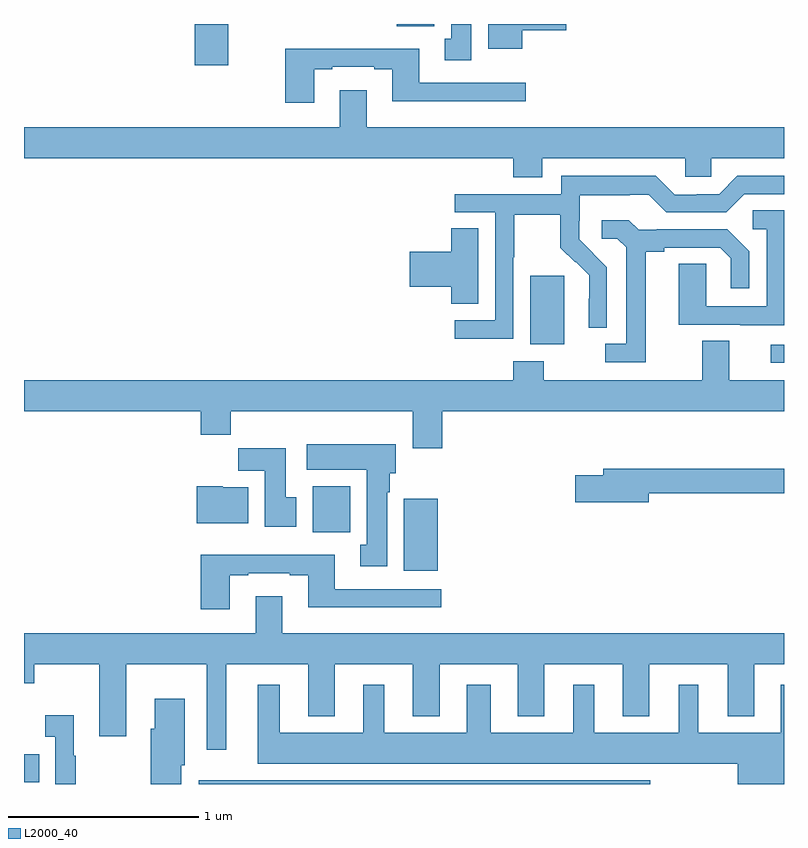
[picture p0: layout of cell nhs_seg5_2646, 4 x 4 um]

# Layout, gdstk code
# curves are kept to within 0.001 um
import gdstk
lib = gdstk.Library(unit=1e-6, precision=1e-09)
def R(c, l, rs):  # rectangles x0, y0, x1, y1
    for r in rs: c.add(gdstk.rectangle(r[:2], r[2:], *l))
def P(c, l, *ps):  # polygons
    for p in ps: c.add(gdstk.Polygon(p, *l))
L2000_40 = (2000, 40)

nhs_seg5_2646 = lib.new_cell('nhs_seg5_2646')
R(nhs_seg5_2646, L2000_40, [(265.92,854.799,268.297,854.818), (265,854.807,265.079,854.955), (266.999,855.921,267.178,856.3), (266.519,856.124,266.716,856.366), (268.929,857.016,269,857.112), (267.665,857.114,267.844,857.475), (265.898,858.582,266.076,858.799), (266.963,858.788,267.16,858.799)])
P(nhs_seg5_2646, L2000_40, [(267.622,858.767),(267.853,858.767),(267.853,858.799),(267.443,858.799),(267.443,858.668),(267.622,858.668)],
  [(267.355,858.799),(267.248,858.799),(267.248,858.722),(267.215,858.722),(267.215,858.609),(267.355,858.609)],
  [(266.527,858.561),(266.623,858.561),(266.623,858.573),(266.843,858.573),(266.843,858.561),(266.939,858.561),(266.939,858.392),(267.64,858.392),(267.64,858.489),(267.079,858.489),(267.079,858.67),(266.375,858.67),(266.375,858.384),(266.527,858.384)],
  [(266.663,858.451),(266.663,858.256),(265,858.256),(265,858.092),(267.575,858.092),(267.575,857.993),(267.727,857.993),(267.727,858.092),(268.479,858.092),(268.479,857.994),(268.617,857.994),(268.617,858.092),(269,858.092),(269,858.256),(266.803,858.256),(266.803,858.451)],
  [(267.576,857.572),(267.579,857.572),(267.579,857.796),(267.823,857.796),(267.823,857.621),(267.9,857.544),(267.903,857.547),(267.974,857.477),(267.974,857.354),(267.972,857.354),(267.972,857.2),(268.068,857.2),(268.068,857.518),(267.922,857.666),(267.922,857.763),(267.924,857.763),(267.924,857.897),(268.187,857.897),(268.187,857.901),(268.287,857.901),(268.38,857.808),(268.695,857.808),(268.791,857.904),(269,857.904),(269,858),(268.755,858),(268.659,857.904),(268.541,857.904),(268.541,857.901),(268.425,857.901),(268.325,858.001),(267.828,858.001),(267.828,857.904),(267.267,857.904),(267.267,857.808),(267.48,857.808),(267.48,857.241),(267.267,857.241),(267.267,857.143),(267.576,857.143)],
  [(269,857.819),(268.836,857.819),(268.836,857.718),(268.908,857.718),(268.908,857.313),(268.59,857.313),(268.59,857.537),(268.445,857.537),(268.445,857.217),(268.769,857.217),(268.769,857.213),(269,857.213)],
  [(268.273,857.6),(268.369,857.6),(268.369,857.622),(268.664,857.622),(268.721,857.565),(268.721,857.409),(268.818,857.409),(268.818,857.602),(268.702,857.718),(268.33,857.718),(268.33,857.715),(268.236,857.715),(268.184,857.767),(268.041,857.767),(268.041,857.67),(268.122,857.67),(268.169,857.623),(268.169,857.115),(268.059,857.115),(268.059,857.019),(268.273,857.019)],
  [(267.391,857.723),(267.248,857.723),(267.248,857.6),(267.03,857.6),(267.03,857.417),(267.248,857.417),(267.248,857.326),(267.391,857.326)],
  [(265,856.76),(265.931,856.76),(265.931,856.636),(266.087,856.636),(266.087,856.76),(267.047,856.76),(267.047,856.566),(267.2,856.566),(267.2,856.76),(269,856.76),(269,856.924),(268.711,856.924),(268.711,857.132),(268.571,857.132),(268.571,856.924),(267.735,856.924),(267.735,857.023),(267.575,857.023),(267.575,856.924),(265,856.924)],
  [(266.911,856.334),(266.926,856.334),(266.926,856.434),(266.956,856.434),(266.956,856.588),(266.487,856.588),(266.487,856.454),(266.804,856.454),(266.804,856.058),(266.771,856.058),(266.771,855.945),(266.911,855.945)],
  [(266.434,856.308),(266.377,856.308),(266.377,856.567),(266.128,856.567),(266.128,856.448),(266.267,856.448),(266.267,856.152),(266.434,856.152)],
  [(268.288,856.33),(269,856.33),(269,856.459),(268.049,856.459),(268.049,856.425),(267.9,856.425),(267.9,856.283),(268.288,856.283)],
  [(266.179,856.36),(266.046,856.36),(266.046,856.366),(265.91,856.366),(265.91,856.172),(266.179,856.172)],
  [(266.083,855.897),(266.179,855.897),(266.179,855.909),(266.399,855.909),(266.399,855.897),(266.495,855.897),(266.495,855.728),(267.196,855.728),(267.196,855.825),(266.635,855.825),(266.635,856.006),(265.931,856.006),(265.931,855.72),(266.083,855.72)],
  [(266.359,855.787),(266.219,855.787),(266.219,855.592),(265,855.592),(265,855.329),(265.053,855.329),(265.053,855.428),(265.397,855.428),(265.397,855.051),(265.537,855.051),(265.537,855.428),(265.961,855.428),(265.961,854.979),(266.065,854.979),(266.065,855.428),(266.495,855.428),(266.495,855.155),(266.635,855.155),(266.635,855.428),(267.047,855.428),(267.047,855.155),(267.187,855.155),(267.187,855.428),(267.599,855.428),(267.599,855.155),(267.739,855.155),(267.739,855.428),(268.151,855.428),(268.151,855.155),(268.291,855.155),(268.291,855.428),(268.703,855.428),(268.703,855.155),(268.843,855.155),(268.843,855.428),(269,855.428),(269,855.592),(266.359,855.592)],
  [(269,855.322),(268.982,855.322),(268.982,855.07),(268.549,855.07),(268.549,855.322),(268.445,855.322),(268.445,855.07),(268,855.07),(268,855.322),(267.89,855.322),(267.89,855.07),(267.457,855.07),(267.457,855.322),(267.329,855.322),(267.329,855.07),(266.896,855.07),(266.896,855.322),(266.786,855.322),(266.786,855.07),(266.347,855.07),(266.347,855.322),(266.231,855.322),(266.231,854.906),(268.757,854.906),(268.757,854.799),(269,854.799)],
  [(265.828,854.898),(265.846,854.898),(265.846,855.247),(265.688,855.247),(265.688,855.09),(265.666,855.09),(265.666,854.799),(265.828,854.799)],
  [(265.273,854.947),(265.261,854.947),(265.261,855.16),(265.113,855.16),(265.113,855.047),(265.164,855.047),(265.164,854.799),(265.273,854.799)])

lib.write_gds('nhs_seg5_2646.gds')
